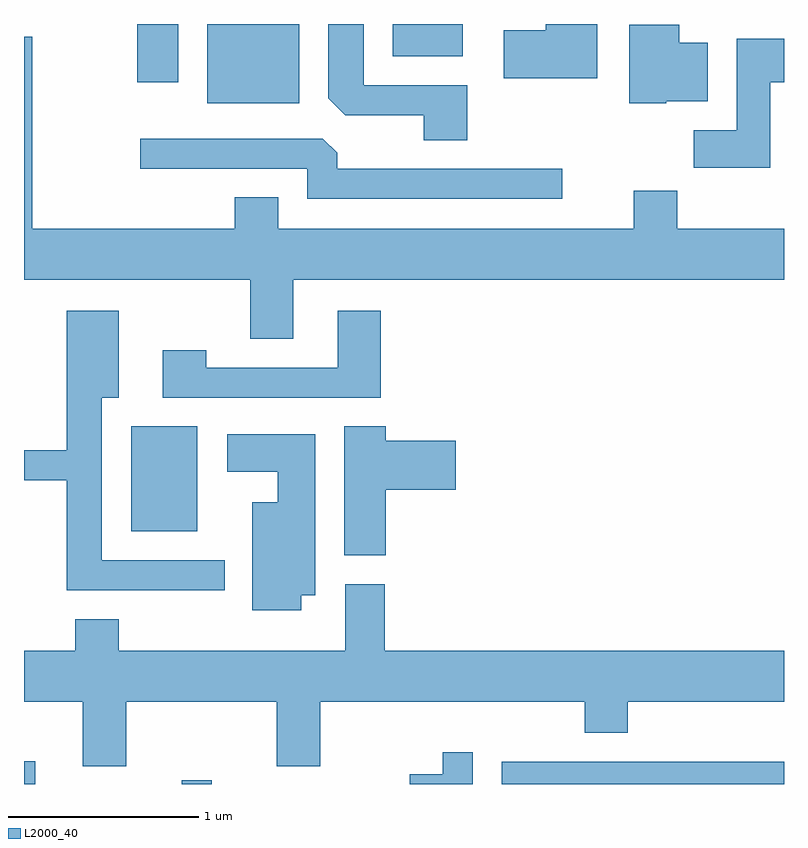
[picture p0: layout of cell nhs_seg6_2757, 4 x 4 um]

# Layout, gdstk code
import gdstk
lib = gdstk.Library(unit=1e-6, precision=1e-09)
def R(c, l, rs):  # rectangles x0, y0, x1, y1
    for r in rs: c.add(gdstk.rectangle(r[:2], r[2:], *l))
def P(c, l, *ps):  # polygons
    for p in ps: c.add(gdstk.Polygon(p, *l))
L2000_40 = (2000, 40)

nhs_seg6_2757 = lib.new_cell('nhs_seg6_2757')
R(nhs_seg6_2757, L2000_40, [(267.611,1656.162,267.669,1656.283), (268.441,1656.162,268.599,1656.183), (270.126,1656.162,271.611,1656.279), (268.176,1657.491,268.524,1658.044), (268.576,1659.746,269.059,1660.162), (268.206,1659.856,268.424,1660.162), (269.551,1659.991,269.919,1660.162)])
P(nhs_seg6_2757, L2000_40, [(270.629,1660.162),(270.356,1660.162),(270.356,1660.129),(270.136,1660.129),(270.136,1659.876),(270.629,1659.876)],
  [(269.944,1659.839),(269.399,1659.839),(269.399,1660.162),(269.211,1660.162),(269.211,1659.772),(269.302,1659.681),(269.716,1659.681),(269.716,1659.551),(269.944,1659.551)],
  [(270.99,1659.756),(271.209,1659.756),(271.209,1660.064),(271.059,1660.064),(271.059,1660.159),(270.796,1660.159),(270.796,1659.746),(270.99,1659.746)],
  [(269.029,1658.816),(271.611,1658.816),(271.611,1659.084),(271.049,1659.084),(271.049,1659.284),(270.821,1659.284),(270.821,1659.084),(268.949,1659.084),(268.949,1659.249),(268.721,1659.249),(268.721,1659.084),(267.654,1659.084),(267.654,1660.094),(267.611,1660.094),(267.611,1658.816),(268.801,1658.816),(268.801,1658.506),(269.029,1658.506)],
  [(271.539,1659.856),(271.611,1659.856),(271.611,1660.084),(271.361,1660.084),(271.361,1659.604),(271.136,1659.604),(271.136,1659.406),(271.539,1659.406)],
  [(270.443,1659.399),(269.259,1659.399),(269.259,1659.484),(269.184,1659.559),(268.223,1659.559),(268.223,1659.401),(269.101,1659.401),(269.101,1659.241),(270.443,1659.241)],
  [(268.668,1657.339),(268.019,1657.339),(268.019,1658.196),(268.109,1658.196),(268.109,1658.654),(267.836,1658.654),(267.836,1657.919),(267.611,1657.919),(267.611,1657.761),(267.836,1657.761),(267.836,1657.181),(268.668,1657.181)],
  [(269.489,1658.654),(269.261,1658.654),(269.261,1658.354),(268.569,1658.354),(268.569,1658.444),(268.341,1658.444),(268.341,1658.196),(269.489,1658.196)],
  [(269.514,1657.711),(269.884,1657.711),(269.884,1657.969),(269.514,1657.969),(269.514,1658.044),(269.296,1658.044),(269.296,1657.366),(269.514,1657.366)],
  [(269.069,1657.156),(269.144,1657.156),(269.144,1658.004),(268.681,1658.004),(268.681,1657.806),(268.946,1657.806),(268.946,1657.644),(268.811,1657.644),(268.811,1657.076),(269.069,1657.076)],
  [(268.149,1656.596),(268.941,1656.596),(268.941,1656.256),(269.169,1656.256),(269.169,1656.596),(270.561,1656.596),(270.561,1656.431),(270.789,1656.431),(270.789,1656.596),(271.611,1656.596),(271.611,1656.864),(269.509,1656.864),(269.509,1657.214),(269.301,1657.214),(269.301,1656.864),(268.109,1656.864),(268.109,1657.029),(267.881,1657.029),(267.881,1656.864),(267.611,1656.864),(267.611,1656.596),(267.921,1656.596),(267.921,1656.256),(268.149,1656.256)],
  [(269.974,1656.328),(269.816,1656.328),(269.816,1656.214),(269.641,1656.214),(269.641,1656.162),(269.974,1656.162)])

lib.write_gds('nhs_seg6_2757.gds')
